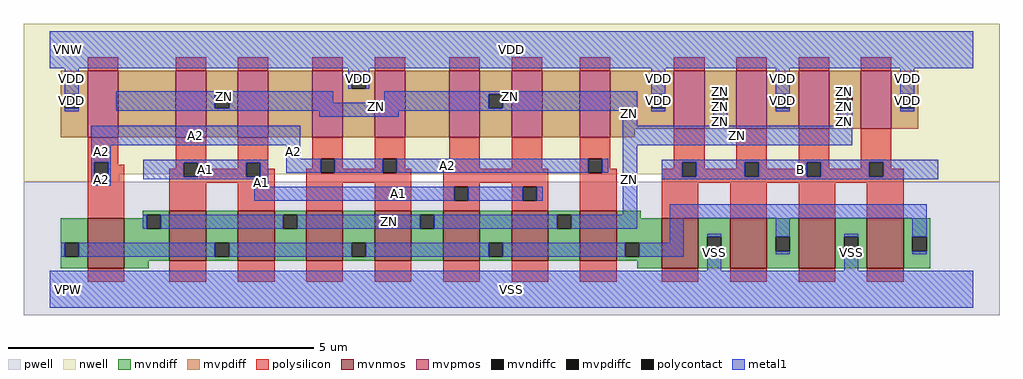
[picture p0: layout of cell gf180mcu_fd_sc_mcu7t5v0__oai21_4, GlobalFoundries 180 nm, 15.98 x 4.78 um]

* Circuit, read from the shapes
.subckt gf180mcu_fd_sc_mcu7t5v0__oai21_4 A1 A2 B ZN VDD VNW VPW VSS
XM1 ZN A2 n1 VPW nfet_06v0 w=0.82u l=0.6u m=4
XM2 n1 A1 ZN VPW nfet_06v0 w=0.82u l=0.6u m=4
XM3 VSS B n1 VPW nfet_06v0 w=0.82u l=0.6u m=4
XM4 n2 A2 VDD VNW pfet_06v0 w=1.095u l=0.5u
XM5 ZN A1 n2 VNW pfet_06v0 w=1.095u l=0.5u
XM6 n3 A1 ZN VNW pfet_06v0 w=1.095u l=0.5u
XM7 VDD A2 n3 VNW pfet_06v0 w=1.095u l=0.5u
XM8 n4 A2 VDD VNW pfet_06v0 w=1.095u l=0.5u
XM9 ZN A1 n4 VNW pfet_06v0 w=1.095u l=0.5u
XM10 n5 A1 ZN VNW pfet_06v0 w=1.095u l=0.5u
XM11 VDD A2 n5 VNW pfet_06v0 w=1.095u l=0.5u
XM12 ZN B VDD VNW pfet_06v0 w=0.955u l=0.5u m=4
.ends

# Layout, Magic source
magic
tech gf180mcuD
magscale 1 10
<< nwell >>
rect -86 377 3110 870
rect -86 352 228 377
rect 2011 352 3110 377
<< pwell >>
rect -86 -86 3110 352
<< mvnmos >>
rect 124 68 244 232
rect 392 93 512 257
rect 616 93 736 257
rect 840 93 960 257
rect 1064 93 1184 257
rect 1288 93 1408 257
rect 1512 93 1632 257
rect 1736 93 1856 257
rect 2004 68 2124 232
rect 2228 68 2348 232
rect 2452 68 2572 232
rect 2676 68 2796 232
<< mvpmos >>
rect 124 497 224 716
rect 412 497 512 716
rect 616 497 716 716
rect 860 497 960 716
rect 1064 497 1164 716
rect 1308 497 1408 716
rect 1512 497 1612 716
rect 1736 497 1836 716
rect 2044 525 2144 716
rect 2248 525 2348 716
rect 2452 525 2552 716
rect 2656 525 2756 716
<< mvndiff >>
rect 304 244 392 257
rect 304 232 317 244
rect 36 152 124 232
rect 36 106 49 152
rect 95 106 124 152
rect 36 68 124 106
rect 244 198 317 232
rect 363 198 392 244
rect 244 93 392 198
rect 512 152 616 257
rect 512 106 541 152
rect 587 106 616 152
rect 512 93 616 106
rect 736 244 840 257
rect 736 198 765 244
rect 811 198 840 244
rect 736 93 840 198
rect 960 152 1064 257
rect 960 106 989 152
rect 1035 106 1064 152
rect 960 93 1064 106
rect 1184 244 1288 257
rect 1184 198 1213 244
rect 1259 198 1288 244
rect 1184 93 1288 198
rect 1408 152 1512 257
rect 1408 106 1437 152
rect 1483 106 1512 152
rect 1408 93 1512 106
rect 1632 244 1736 257
rect 1632 198 1661 244
rect 1707 198 1736 244
rect 1632 93 1736 198
rect 1856 232 1936 257
rect 1856 152 2004 232
rect 1856 106 1885 152
rect 1931 106 2004 152
rect 1856 93 2004 106
rect 244 68 324 93
rect 1924 68 2004 93
rect 2124 171 2228 232
rect 2124 125 2153 171
rect 2199 125 2228 171
rect 2124 68 2228 125
rect 2348 171 2452 232
rect 2348 125 2377 171
rect 2423 125 2452 171
rect 2348 68 2452 125
rect 2572 171 2676 232
rect 2572 125 2601 171
rect 2647 125 2676 171
rect 2572 68 2676 125
rect 2796 171 2884 232
rect 2796 125 2825 171
rect 2871 125 2884 171
rect 2796 68 2884 125
<< mvpdiff >>
rect 36 639 124 716
rect 36 593 49 639
rect 95 593 124 639
rect 36 497 124 593
rect 224 497 412 716
rect 512 639 616 716
rect 512 593 541 639
rect 587 593 616 639
rect 512 497 616 593
rect 716 497 860 716
rect 960 703 1064 716
rect 960 657 989 703
rect 1035 657 1064 703
rect 960 497 1064 657
rect 1164 497 1308 716
rect 1408 639 1512 716
rect 1408 593 1437 639
rect 1483 593 1512 639
rect 1408 497 1512 593
rect 1612 497 1736 716
rect 1836 639 2044 716
rect 1836 593 1969 639
rect 2015 593 2044 639
rect 1836 525 2044 593
rect 2144 639 2248 716
rect 2144 593 2173 639
rect 2219 593 2248 639
rect 2144 525 2248 593
rect 2348 639 2452 716
rect 2348 593 2377 639
rect 2423 593 2452 639
rect 2348 525 2452 593
rect 2552 639 2656 716
rect 2552 593 2581 639
rect 2627 593 2656 639
rect 2552 525 2656 593
rect 2756 639 2844 716
rect 2756 593 2785 639
rect 2831 593 2844 639
rect 2756 525 2844 593
rect 1836 497 1916 525
<< mvndiffc >>
rect 49 106 95 152
rect 317 198 363 244
rect 541 106 587 152
rect 765 198 811 244
rect 989 106 1035 152
rect 1213 198 1259 244
rect 1437 106 1483 152
rect 1661 198 1707 244
rect 1885 106 1931 152
rect 2153 125 2199 171
rect 2377 125 2423 171
rect 2601 125 2647 171
rect 2825 125 2871 171
<< mvpdiffc >>
rect 49 593 95 639
rect 541 593 587 639
rect 989 657 1035 703
rect 1437 593 1483 639
rect 1969 593 2015 639
rect 2173 593 2219 639
rect 2377 593 2423 639
rect 2581 593 2627 639
rect 2785 593 2831 639
<< polysilicon >>
rect 124 716 224 760
rect 412 716 512 760
rect 616 716 716 760
rect 860 716 960 760
rect 1064 716 1164 760
rect 1308 716 1408 760
rect 1512 716 1612 760
rect 1736 716 1836 760
rect 2044 716 2144 760
rect 2248 716 2348 760
rect 2452 716 2552 760
rect 2656 716 2756 760
rect 124 415 224 497
rect 124 369 145 415
rect 191 408 224 415
rect 412 414 512 497
rect 191 369 244 408
rect 412 394 439 414
rect 124 232 244 369
rect 392 368 439 394
rect 485 394 512 414
rect 616 414 716 497
rect 616 394 643 414
rect 485 368 643 394
rect 689 394 716 414
rect 860 428 960 497
rect 860 394 887 428
rect 689 368 736 394
rect 392 348 736 368
rect 392 257 512 348
rect 616 257 736 348
rect 840 382 887 394
rect 933 394 960 428
rect 1064 428 1164 497
rect 1064 394 1091 428
rect 933 382 1091 394
rect 1137 394 1164 428
rect 1308 394 1408 497
rect 1512 394 1612 497
rect 1736 428 1836 497
rect 1137 382 1184 394
rect 840 348 1184 382
rect 840 257 960 348
rect 1064 257 1184 348
rect 1288 348 1632 394
rect 1288 336 1408 348
rect 1288 290 1325 336
rect 1371 290 1408 336
rect 1288 257 1408 290
rect 1512 336 1632 348
rect 1512 290 1549 336
rect 1595 290 1632 336
rect 1512 257 1632 290
rect 1736 382 1763 428
rect 1809 394 1836 428
rect 2044 415 2144 525
rect 2044 394 2071 415
rect 1809 382 1856 394
rect 1736 257 1856 382
rect 2004 369 2071 394
rect 2117 394 2144 415
rect 2248 415 2348 525
rect 2248 394 2275 415
rect 2117 369 2275 394
rect 2321 394 2348 415
rect 2452 415 2552 525
rect 2452 394 2479 415
rect 2321 369 2479 394
rect 2525 394 2552 415
rect 2656 415 2756 525
rect 2656 394 2683 415
rect 2525 369 2683 394
rect 2729 394 2756 415
rect 2729 369 2796 394
rect 2004 348 2796 369
rect 2004 232 2124 348
rect 2228 232 2348 348
rect 2452 232 2572 348
rect 2676 232 2796 348
rect 124 24 244 68
rect 392 24 512 93
rect 616 24 736 93
rect 840 24 960 93
rect 1064 24 1184 93
rect 1288 24 1408 93
rect 1512 24 1632 93
rect 1736 24 1856 93
rect 2004 24 2124 68
rect 2228 24 2348 68
rect 2452 24 2572 68
rect 2676 24 2796 68
<< polycontact >>
rect 145 369 191 415
rect 439 368 485 414
rect 643 368 689 414
rect 887 382 933 428
rect 1091 382 1137 428
rect 1325 290 1371 336
rect 1549 290 1595 336
rect 1763 382 1809 428
rect 2071 369 2117 415
rect 2275 369 2321 415
rect 2479 369 2525 415
rect 2683 369 2729 415
<< metal1 >>
rect 0 724 3024 844
rect 49 639 95 724
rect 978 703 1046 724
rect 978 657 989 703
rect 1035 657 1046 703
rect 49 582 95 593
rect 217 639 928 648
rect 217 593 541 639
rect 587 611 928 639
rect 1096 639 1923 648
rect 1096 611 1437 639
rect 587 593 1437 611
rect 1483 593 1923 639
rect 217 584 1923 593
rect 882 565 1142 584
rect 1877 536 1923 584
rect 1969 639 2015 724
rect 1969 582 2015 593
rect 2173 639 2219 650
rect 2173 536 2219 593
rect 2377 639 2423 724
rect 2377 582 2423 593
rect 2581 639 2627 650
rect 2581 536 2627 593
rect 2785 639 2831 724
rect 2785 582 2831 593
rect 136 472 820 536
rect 136 415 200 472
rect 774 428 820 472
rect 1877 472 2627 536
rect 136 369 145 415
rect 191 369 200 415
rect 136 339 200 369
rect 306 414 716 424
rect 306 368 439 414
rect 485 368 643 414
rect 689 368 716 414
rect 774 382 887 428
rect 933 382 1091 428
rect 1137 382 1763 428
rect 1809 382 1828 428
rect 306 360 716 368
rect 670 336 716 360
rect 670 290 1325 336
rect 1371 290 1549 336
rect 1595 290 1614 336
rect 1877 244 1923 472
rect 2004 415 2910 424
rect 2004 369 2071 415
rect 2117 369 2275 415
rect 2321 369 2479 415
rect 2525 369 2683 415
rect 2729 369 2910 415
rect 2004 360 2910 369
rect 304 198 317 244
rect 363 198 765 244
rect 811 198 1213 244
rect 1259 198 1661 244
rect 1707 198 1923 244
rect 2030 232 2871 278
rect 2030 152 2076 232
rect 36 106 49 152
rect 95 106 541 152
rect 587 106 989 152
rect 1035 106 1437 152
rect 1483 106 1885 152
rect 1931 106 2076 152
rect 2153 171 2199 182
rect 2153 60 2199 125
rect 2377 171 2423 232
rect 2377 114 2423 125
rect 2601 171 2647 182
rect 2601 60 2647 125
rect 2825 171 2871 232
rect 2825 114 2871 125
rect 0 -60 3024 60
<< labels >>
flabel metal1 s 2004 360 2910 424 0 FreeSans 400 0 0 0 B
port 3 nsew default input
flabel metal1 s 0 724 3024 844 0 FreeSans 400 0 0 0 VDD
port 5 nsew power bidirectional abutment
flabel metal1 s 2601 60 2647 182 0 FreeSans 400 0 0 0 VSS
port 8 nsew ground bidirectional abutment
flabel metal1 s 306 360 716 424 0 FreeSans 400 0 0 0 A1
port 1 nsew default input
flabel metal1 s 2581 648 2627 650 0 FreeSans 400 0 0 0 ZN
port 4 nsew default output
flabel metal1 s 136 472 820 536 0 FreeSans 400 0 0 0 A2
port 2 nsew default input
flabel nwell s 10 734 110 834 0 FreeSans 400 0 0 0 VNW
port 6 nsew power bidirectional
flabel pwell s 10 -50 110 50 0 FreeSans 400 0 0 0 VPW
port 7 nsew ground bidirectional
rlabel metal1 s 670 336 716 360 1 A1
port 1 nsew default input
rlabel metal1 s 670 290 1614 336 1 A1
port 1 nsew default input
rlabel metal1 s 774 428 820 472 1 A2
port 2 nsew default input
rlabel metal1 s 136 428 200 472 1 A2
port 2 nsew default input
rlabel metal1 s 774 382 1828 428 1 A2
port 2 nsew default input
rlabel metal1 s 136 382 200 428 1 A2
port 2 nsew default input
rlabel metal1 s 136 339 200 382 1 A2
port 2 nsew default input
rlabel metal1 s 2173 648 2219 650 1 ZN
port 4 nsew default output
rlabel metal1 s 2581 611 2627 648 1 ZN
port 4 nsew default output
rlabel metal1 s 2173 611 2219 648 1 ZN
port 4 nsew default output
rlabel metal1 s 1096 611 1923 648 1 ZN
port 4 nsew default output
rlabel metal1 s 217 611 928 648 1 ZN
port 4 nsew default output
rlabel metal1 s 2581 584 2627 611 1 ZN
port 4 nsew default output
rlabel metal1 s 2173 584 2219 611 1 ZN
port 4 nsew default output
rlabel metal1 s 217 584 1923 611 1 ZN
port 4 nsew default output
rlabel metal1 s 2581 565 2627 584 1 ZN
port 4 nsew default output
rlabel metal1 s 2173 565 2219 584 1 ZN
port 4 nsew default output
rlabel metal1 s 1877 565 1923 584 1 ZN
port 4 nsew default output
rlabel metal1 s 882 565 1142 584 1 ZN
port 4 nsew default output
rlabel metal1 s 2581 536 2627 565 1 ZN
port 4 nsew default output
rlabel metal1 s 2173 536 2219 565 1 ZN
port 4 nsew default output
rlabel metal1 s 1877 536 1923 565 1 ZN
port 4 nsew default output
rlabel metal1 s 1877 472 2627 536 1 ZN
port 4 nsew default output
rlabel metal1 s 1877 244 1923 472 1 ZN
port 4 nsew default output
rlabel metal1 s 304 198 1923 244 1 ZN
port 4 nsew default output
rlabel metal1 s 2785 657 2831 724 1 VDD
port 5 nsew power bidirectional abutment
rlabel metal1 s 2377 657 2423 724 1 VDD
port 5 nsew power bidirectional abutment
rlabel metal1 s 1969 657 2015 724 1 VDD
port 5 nsew power bidirectional abutment
rlabel metal1 s 978 657 1046 724 1 VDD
port 5 nsew power bidirectional abutment
rlabel metal1 s 49 657 95 724 1 VDD
port 5 nsew power bidirectional abutment
rlabel metal1 s 2785 582 2831 657 1 VDD
port 5 nsew power bidirectional abutment
rlabel metal1 s 2377 582 2423 657 1 VDD
port 5 nsew power bidirectional abutment
rlabel metal1 s 1969 582 2015 657 1 VDD
port 5 nsew power bidirectional abutment
rlabel metal1 s 49 582 95 657 1 VDD
port 5 nsew power bidirectional abutment
rlabel metal1 s 2153 60 2199 182 1 VSS
port 8 nsew ground bidirectional abutment
rlabel metal1 s 0 -60 3024 60 1 VSS
port 8 nsew ground bidirectional abutment
<< properties >>
string FIXED_BBOX 0 0 3024 784
string GDS_END 20336
string GDS_FILE $PDKPATH/libs.ref/gf180mcu_fd_sc_mcu7t5v0/gds/gf180mcu_fd_sc_mcu7t5v0.gds
string GDS_START 14704
string LEFclass core
string LEFsite GF018hv5v_mcu_sc7
string LEFsymmetry X Y
<< end >>
